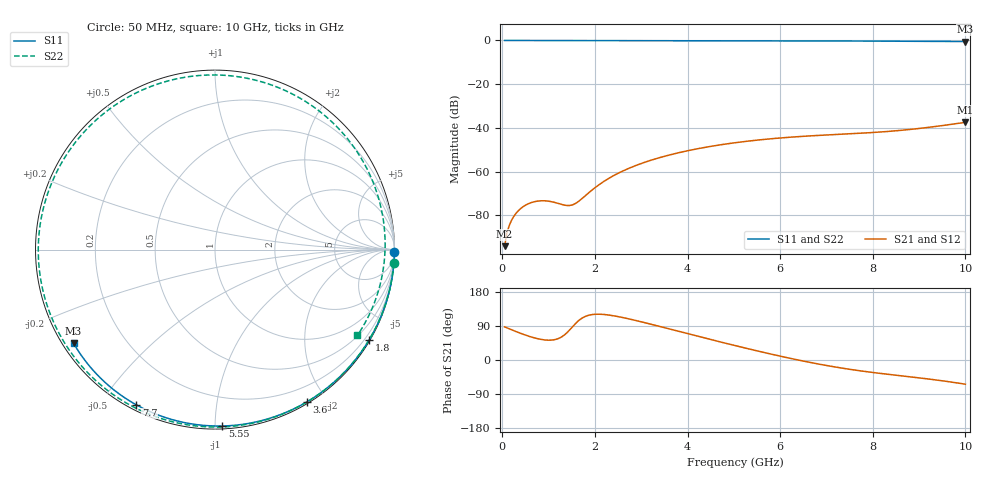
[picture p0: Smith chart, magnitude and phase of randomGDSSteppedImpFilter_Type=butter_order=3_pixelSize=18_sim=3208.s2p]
! freq	dB(S11)	phase(S11)	dB(S12)	phase(S12)
!  dB(S21)	phase(S21)	dB(S22)	phase(S22)
!S-par simulation data
#  GHz  S  DB  R 50
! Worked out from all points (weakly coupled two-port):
!   200 points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, 50 MHz to 10 GHz, reference 50 ohm
!   highest |S21| = -37.43 dB at 10 GHz (marker M1); lowest = -94.0 dB at 50 MHz (marker M2)
!   lowest |S11| = -0.5 dB at 10 GHz (marker M3), VSWR 35.38, Z = 1.54 - j15 ohm
!   |S11| at or under -10 dB: nowhere
!   |S22| runs from -0.7 to 0.0 dB; largest |S21 - S12| = 0
!   S11 on the Smith chart (normalised r, x): 50 MHz: open; 1.8 GHz: 0.03, -3.70; 3.6 GHz: 0.02, -1.77; 5.55 GHz: 0.02, -1.04; 7.7 GHz: 0.02, -0.61; 10 GHz: 0.03, -0.30
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0.05  -0.00 -0.9  -94.04 87.4  -94.04 87.4  -0.00 -4.4
0.25  -0.01 -4.3  -80.37 77.3  -80.37 77.3  -0.03 -21.6
0.5  -0.01 -8.5  -75.32 65.7  -75.32 65.7  -0.06 -42.2
0.85  -0.02 -14.4  -73.29 54.1  -73.29 54.1  -0.08 -68.9
1.15  -0.02 -19.4  -74.14 54.3  -74.14 54.3  -0.10 -89.0
1.45  -0.03 -24.4  -75.45 78.8  -75.45 78.8  -0.11 -106.9
1.75  -0.04 -29.4  -71.77 112.5  -71.77 112.5  -0.11 -122.6
1.8  -0.04 -30.2  -70.85 115.4  -70.85 115.4  -0.11 -125.1
2.15  -0.05 -35.9  -65.05 120.6  -65.05 120.6  -0.12 -141.0
2.55  -0.05 -42.4  -60.21 113.3  -60.21 113.3  -0.12 -157.1
2.95  -0.06 -48.8  -56.64 102.3  -56.64 102.3  -0.13 -171.7
3.4  -0.07 -55.8  -53.55 88.5  -53.55 88.5  -0.14 173.3
3.6  -0.08 -58.9  -52.40 82.3  -52.40 82.3  -0.14 166.9
4.3  -0.10 -69.5  -49.17 60.3  -49.17 60.3  -0.16 145.6
5.05  -0.12 -80.5  -46.69 37.3  -46.69 37.3  -0.19 123.5
5.55  -0.14 -87.7  -45.46 22.7  -45.46 22.7  -0.21 108.7
6.15  -0.17 -96.0  -44.33 6.1  -44.33 6.1  -0.24 90.8
6.7  -0.20 -103.5  -43.56 -7.7  -43.56 -7.7  -0.26 74.0
7.7  -0.27 -116.8  -42.45 -28.1  -42.45 -28.1  -0.32 42.7
8.35  -0.32 -125.3  -41.56 -38.1  -41.56 -38.1  -0.38 21.8
9.15  -0.40 -135.6  -39.86 -49.3  -39.86 -49.3  -0.49 -4.0
10  -0.49 -146.5  -37.43 -63.9  -37.43 -63.9  -0.67 -31.0
